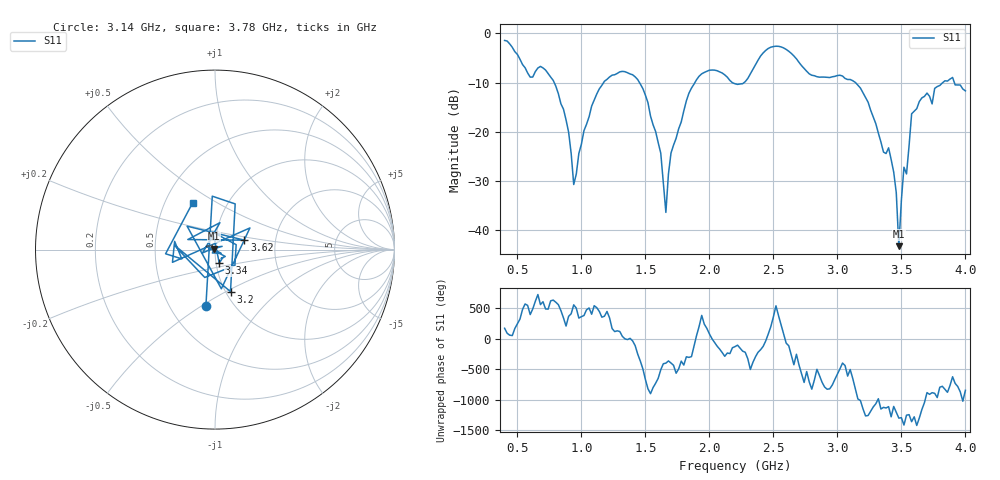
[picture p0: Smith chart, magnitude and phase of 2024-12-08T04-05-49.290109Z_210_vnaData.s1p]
!Created with skrf (http://scikit-rf.org).
# Hz S RI R 50.0
!freq ReS11 ImS11
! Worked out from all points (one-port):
!   181 points, 400 MHz to 4 GHz, reference 50 ohm
!   lowest |S11| = -43.3 dB at 3.48 GHz (marker M1), VSWR 1.01, Z = 49.5 + j0.452 ohm
!   |S11| at or under -10 dB: 787.6 MHz to 1.173 GHz (385.8 MHz wide, 39.3 % of centre); 1.454 GHz to 1.887 GHz (432.8 MHz wide, 25.9 % of centre); 3.141 GHz to 3.823 GHz (681.7 MHz wide, 19.6 % of centre) (the widest 3 of 5)
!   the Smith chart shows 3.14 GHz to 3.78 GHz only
!   S11 on the Smith chart (normalised r, x): 3.14 GHz: 0.75, -0.52; 3.2 GHz: 1.05, -0.53; 3.34 GHz: 1.04, -0.16; 3.62 GHz: 1.38, +0.15; 3.78 GHz: 0.69, +0.39
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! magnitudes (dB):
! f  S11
! 400 MHz  -1.4
! 600 MHz  -8.9
! 720 MHz  -7.4
! 860 MHz  -15.4
! 940 MHz  -30.7
! 1.08 GHz  -14.8
! 1.3 GHz  -7.8
! 1.52 GHz  -14.1
! 1.62 GHz  -24.3
! 1.66 GHz  -36.4
! 1.7 GHz  -24.3
! 1.76 GHz  -19.4
! 1.94 GHz  -8.2
! 2.2 GHz  -10.2
! 2.48 GHz  -2.8
! 2.66 GHz  -4.6
! 3.1 GHz  -9.4
! 3.14 GHz  -10.0
! 3.2 GHz  -12.1
! 3.34 GHz  -22.1
! 3.44 GHz  -28.2
! 3.48 GHz  -43.3
! 3.52 GHz  -27.2
! 3.56 GHz  -22.8
! 3.58 GHz  -16.3
! 3.62 GHz  -15.3
! 3.78 GHz  -10.8
! 4 GHz  -11.7
